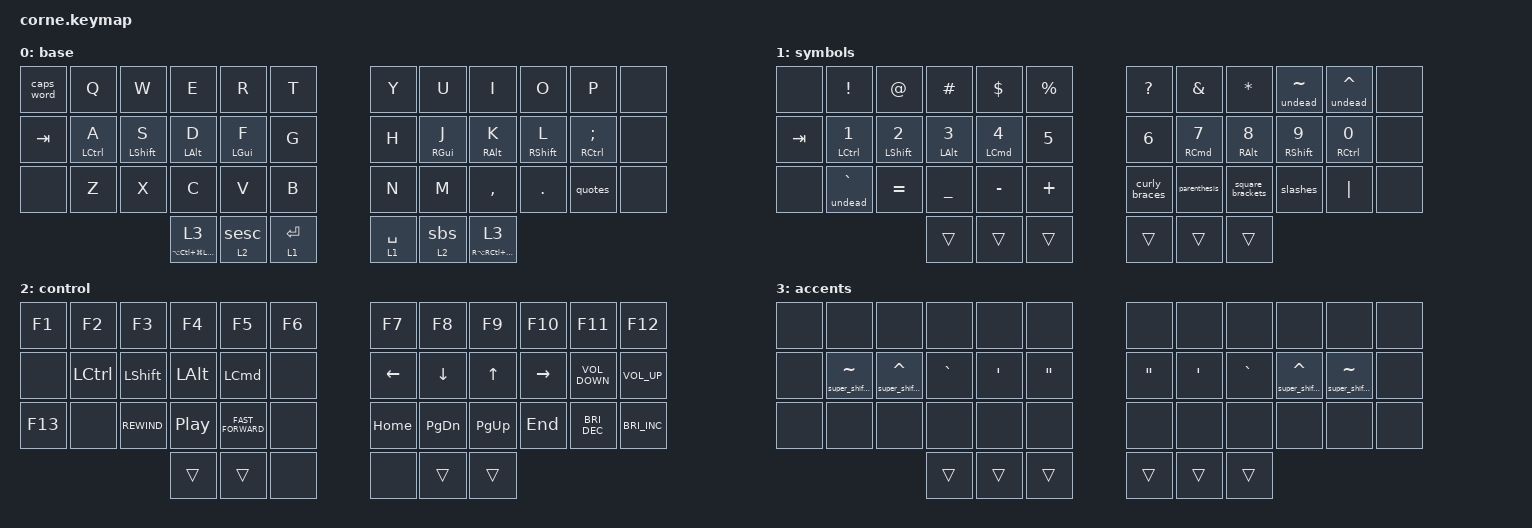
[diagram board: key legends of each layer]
#include <behaviors.dtsi>
#include <dt-bindings/zmk/bt.h>
#include <dt-bindings/zmk/keys.h>

&lt {
    quick-tap-ms = <175>;
    tapping-term-ms = <280>;
    flavor = "balanced";
};

&caps_word { continue-list = <UNDERSCORE BACKSPACE DELETE MINUS>; };

/ {
    behaviors {
        lhmt: left_hand_mod_tap {
            compatible = "zmk,behavior-hold-tap";
            label = "left_hand_mod_tap";
            bindings = <&kp>, <&kp>;

            #binding-cells = <2>;
            tapping-term-ms = <280>;
            quick-tap-ms = <175>;
            flavor = "balanced";
            hold-trigger-key-positions = <6 7 8 9 10 11 18 19 20 21 22 23 30 31 32 33 34 35 39 40 41>;
            hold-trigger-on-release;
        };

        rhmt: right_hand_mod_tap {
            compatible = "zmk,behavior-hold-tap";
            label = "right_hand_mod_tap";
            bindings = <&kp>, <&kp>;

            #binding-cells = <2>;
            tapping-term-ms = <280>;
            quick-tap-ms = <175>;
            flavor = "balanced";
            hold-trigger-key-positions = <0 1 2 3 4 5 12 13 14 15 16 17 24 25 26 27 28 29 36 37 38>;
            hold-trigger-on-release;
        };

        bsdel: backspace_delete {
            compatible = "zmk,behavior-mod-morph";
            label = "BACKSPACE_DELETE";
            bindings = <&kp BACKSPACE>, <&kp DELETE>;

            #binding-cells = <0>;
            mods = <(MOD_LSFT|MOD_RSFT)>;
        };

        mbsdel: mod_backspace_delete {
            compatible = "zmk,behavior-mod-morph";
            label = "MOD_BACKSPACE_DELETE";
            bindings = <&kp RA(BACKSPACE)>, <&kp RA(DELETE)>;

            #binding-cells = <0>;
            mods = <(MOD_LSFT|MOD_RSFT)>;
        };

        sbs: smart_backspace {
            compatible = "zmk,behavior-tap-dance";
            label = "SMART_BACKSPACE";
            #binding-cells = <0>;
            bindings = <&bsdel>, <&mbsdel>;

            tapping-term-ms = <150>;
        };

        sesc: smart_escape {
            compatible = "zmk,behavior-tap-dance";
            label = "SMART_ESCAPE";
            #binding-cells = <0>;
            bindings = <&kp ESC>, <&kp LG(Z)>;
        };

        mobs: momentary_layer_backspace {
            compatible = "zmk,behavior-hold-tap";
            label = "MOMENTARY_LAYER_BACKSPACE";
            bindings = <&mo>, <&sbs>;

            #binding-cells = <2>;
            tapping-term-ms = <280>;
            quick-tap-ms = <100>;
            flavor = "balanced";
        };

        moesc: momentary_layer_escape {
            compatible = "zmk,behavior-hold-tap";
            label = "MOMENTARY_LAYER_ESCAPE";
            bindings = <&mo>, <&sesc>;

            #binding-cells = <2>;
            tapping-term-ms = <280>;
            quick-tap-ms = <200>;
            flavor = "balanced";
        };

        htap: hold_tap_accent_control {
            compatible = "zmk,behavior-hold-tap";
            label = "HOLD_TAP_ACCENT_CONTROL";
            bindings = <&kp>, <&sl>;

            #binding-cells = <2>;
            tapping-term-ms = <280>;
            quick-tap-ms = <175>;
            flavor = "balanced";
            hold-trigger-on-release;
        };

        quotes: quotes {
            compatible = "zmk,behavior-mod-morph";
            label = "QUOTES";
            bindings = <&undead SINGLE_QUOTE>, <&undead DOUBLE_QUOTES>;

            #binding-cells = <0>;
            mods = <(MOD_LSFT|MOD_RSFT)>;
        };

        curly_braces: curly_braces {
            compatible = "zmk,behavior-mod-morph";
            label = "CURLY_BRACES";
            bindings = <&kp LEFT_BRACE>, <&kp RIGHT_BRACE>;

            #binding-cells = <0>;
            mods = <(MOD_LSFT|MOD_RSFT)>;
        };

        parenthesis: parenthesis {
            compatible = "zmk,behavior-mod-morph";
            label = "PARENTHESIS";
            bindings = <&kp LEFT_PARENTHESIS>, <&kp RIGHT_PARENTHESIS>;

            #binding-cells = <0>;
            mods = <(MOD_LSFT|MOD_RSFT)>;
        };

        square_brackets: square_brackets {
            compatible = "zmk,behavior-mod-morph";
            label = "SQUARE_BRACKETS";
            bindings = <&kp LEFT_BRACKET>, <&super_shifted RIGHT_BRACKET>;

            #binding-cells = <0>;
            mods = <(MOD_LSFT|MOD_RSFT)>;
        };

        slashes: slashes {
            compatible = "zmk,behavior-mod-morph";
            label = "SLASHES";
            bindings = <&kp SLASH>, <&super_shifted BACKSLASH>;

            #binding-cells = <0>;
            mods = <(MOD_LSFT|MOD_RSFT)>;
        };
    };

    macros {
        undead: macro_undead_keys {
            compatible = "zmk,behavior-macro-one-param";
            #binding-cells = <1>;
            bindings =
                <&macro_press>,
                <&macro_param_1to1 &kp MACRO_PLACEHOLDER &kp SPACE>,
                <&macro_release>,
                <&macro_param_1to1 &kp MACRO_PLACEHOLDER &kp SPACE>;

            label = "MACRO_UNDEAD_KEYS";
        };

        super_shifted: fixed_mod_morph {
            compatible = "zmk,behavior-macro-one-param";
            #binding-cells = <1>;
            bindings =
                <&macro_press>,
                <&kp LS(RIGHT_SHIFT) &macro_param_1to1 &kp MACRO_PLACEHOLDER>,
                <&macro_release>,
                <&kp LS(RIGHT_SHIFT) &macro_param_1to1 &kp MACRO_PLACEHOLDER>;

            label = "FIXED_MOD_MORPH";
        };
    };

    combos {
        compatible = "zmk,combos";

        combo_reset_bluetooth {
            bindings = <&bt BT_CLR>;
            key-positions = <0 38 39 11>;
            layers = <0>;
            require-prior-idle-ms = <280>;
        };

        combo_cut {
            bindings = <&kp LG(X)>;
            key-positions = <26 27>;
            layers = <0>;
            timeout-ms = <50>;
        };

        combo_copy {
            bindings = <&kp LG(C)>;
            key-positions = <27 28>;
            layers = <0>;
            timeout-ms = <50>;
        };

        combo_paste {
            bindings = <&kp LG(V)>;
            key-positions = <28 29>;
            layers = <0>;
            timeout-ms = <50>;
        };

        combo_next_bluetooth {
            bindings = <&bt BT_NXT>;
            key-positions = <39 11>;
            timeout-ms = <50>;
            require-prior-idle-ms = <280>;
        };

        combo_previous_bluetooth {
            bindings = <&bt BT_PRV>;
            key-positions = <0 38>;
            timeout-ms = <50>;
            require-prior-idle-ms = <280>;
        };

        combo_mute {
            bindings = <&kp C_MUTE>;
            key-positions = <22 23>;
            layers = <2>;
        };

        combo_undo {
            bindings = <&kp LG(Z)>;
            key-positions = <26 25>;
            timeout-ms = <50>;
            layers = <0>;
        };
    };

    keymap {
        compatible = "zmk,keymap";

        Base {
            bindings = <
&caps_word  &kp Q                 &kp W               &kp E                           &kp R             &kp T          &kp Y        &kp U              &kp I                            &kp O                &kp P                     &none
&kp TAB     &lhmt LEFT_CONTROL A  &lhmt LEFT_SHIFT S  &lhmt LEFT_ALT D                &lhmt LEFT_GUI F  &kp G          &kp H        &rhmt RIGHT_GUI J  &rhmt RIGHT_ALT K                &rhmt RIGHT_SHIFT L  &rhmt RIGHT_CONTROL SEMI  &none
&none       &kp Z                 &kp X               &kp C                           &kp V             &kp B          &kp N        &kp M              &kp COMMA                        &kp PERIOD           &quotes                   &none
                                                      &htap LA(LC(LG(LEFT_SHIFT))) 3  &moesc 2 0        &lt 1 ENTER    &lt 1 SPACE  &mobs 2 0          &htap RA(RC(RG(RIGHT_SHIFT))) 3
            >;

            label = "base";
        };

        Symbols {
            bindings = <
&none    &kp EXCLAMATION              &kp AT_SIGN                &kp POUND                &kp DOLLAR                   &kp PERCENT     &kp QUESTION   &kp AMPERSAND                 &kp ASTERISK              &undead TILDE               &undead CARET                 &none
&kp TAB  &lhmt LEFT_CONTROL NUMBER_1  &lhmt LEFT_SHIFT NUMBER_2  &lhmt LEFT_ALT NUMBER_3  &lhmt LEFT_COMMAND NUMBER_4  &kp NUMBER_5    &kp NUMBER_6   &rhmt RIGHT_COMMAND NUMBER_7  &rhmt RIGHT_ALT NUMBER_8  &rhmt RIGHT_SHIFT NUMBER_9  &rhmt RIGHT_CONTROL NUMBER_0  &none
&none    &undead GRAVE                &kp EQUAL                  &kp UNDERSCORE           &kp MINUS                    &kp PLUS        &curly_braces  &parenthesis                  &square_brackets          &slashes                    &kp PIPE                      &none
                                                                 &trans                   &trans                       &trans          &trans         &trans                        &trans
            >;

            label = "symbols";
        };

        Control {
            bindings = <
&kp F1   &kp F2            &kp F3          &kp F4            &kp F5              &kp F6    &kp F7          &kp F8         &kp F9        &kp F10    &kp F11               &kp F12
&none    &kp LEFT_CONTROL  &kp LEFT_SHIFT  &kp LEFT_ALT      &kp LEFT_COMMAND    &none     &kp LEFT_ARROW  &kp DOWN       &kp UP_ARROW  &kp RIGHT  &kp C_VOLUME_DOWN     &kp C_VOLUME_UP
&kp F13  &none             &kp C_REWIND    &kp C_PLAY_PAUSE  &kp C_FAST_FORWARD  &none     &kp HOME        &kp PAGE_DOWN  &kp PAGE_UP   &kp END    &kp C_BRIGHTNESS_DEC  &kp C_BRIGHTNESS_INC
                                           &trans            &trans              &none     &none           &trans         &trans
            >;

            label = "control";
        };

        Accents {
            label = "accents";
            bindings = <
&none  &none                 &none                 &none      &none             &none                &none              &none             &none      &none                 &none                 &none
&none  &super_shifted TILDE  &super_shifted CARET  &kp GRAVE  &kp SINGLE_QUOTE  &kp DOUBLE_QUOTES    &kp DOUBLE_QUOTES  &kp SINGLE_QUOTE  &kp GRAVE  &super_shifted CARET  &super_shifted TILDE  &none
&none  &none                 &none                 &none      &none             &none                &none              &none             &none      &none                 &none                 &none
                                                   &trans     &trans            &trans               &trans             &trans            &trans
            >;
        };
    };

    // #define HOST_OS 2 // macOS
    // #include "zmk-helpers/helper.h"
    // #include "zmk-helpers/key-labels/42.h"
    // #include "zmk-helpers/unicode-chars/french.dtsi"
    // #define ___ &trans
    // #define BAS 0
    // #define SYM 1
    // #define NAV 2
    // /* Timeless homerow mods */
    // // https://github.com/urob/zmk-config/tree/main#timeless-homerow-mods
    // #define KEYS_L LT0 LT1 LT2 LT3 LT4 LT5 LM0 LM1 LM2 LM3 LM4 LM5 LB0 LB1 LB2 LB3 LB4 LB5  // left hand
    // #define KEYS_R RT0 RT1 RT2 RT3 RT4 RT5 RM0 RM1 RM2 RM3 RM4 RM5 RB0 RB1 RB2 RB3 RB4 RB5  // right hand
    // #define THUMBS LH2 LH1 LH0 RH0 RH1 RH2                                                  // thumbs
    // /* Left-hand HRMs. */
    // ZMK_HOLD_TAP(hml,
    //     flavor = "tap-preferred";
    //     tapping-term-ms = <200>;
    //     quick-tap-ms = <200>;
    //     require-prior-idle-ms = <125>;
    //     bindings = <&kp>, <&kp>;
    //     hold-trigger-key-positions = <KEYS_R THUMBS>;
    //     hold-trigger-on-release;
    // )
    // /* Right-hand HRMs. */
    // ZMK_HOLD_TAP(hmr,
    //     flavor = "tap-preferred";
    //     tapping-term-ms = <200>;
    //     quick-tap-ms = <200>;
    //     require-prior-idle-ms = <125>;
    //     bindings = <&kp>, <&kp>;
    //     hold-trigger-key-positions = <KEYS_L THUMBS>;
    //     hold-trigger-on-release;
    // )
    // /* Custom behaviors */
    // &lt {
    //     flavor = "tap-preferred";
    //     tapping-term-ms = <200>;
    //     quick-tap-ms = <200>;
    //     require-prior-idle-ms = <125>;
    // };
    // &caps_word
    // {
    //     continue-list = <UNDERSCORE MINUS>;
    // };
    // ZMK_BEHAVIOR(macro_caret, macro,
    //     bindings = <&kp LEFT_BRACKET &kp SPACE>;
    // )
    // /* Keymap */
    // ZMK_LAYER(base,
    //     // ╭────────────────────────┬────────────────────────┬────────────────────────┬────────────────────────┬────────────────────────┬────────────────────────╮   ╭────────────────────────┬────────────────────────┬────────────────────────┬────────────────────────┬────────────────────────┬────────────────────────╮
    //          &kp NUBS                 &kp Q                    &kp W                    &kp E                    &kp R                    &kp T                        &kp Y                    &kp U                    &kp I                    &kp O                    &kp P                    &kp RIGHT_BRACKET
    //     // ├────────────────────────┼────────────────────────┼────────────────────────┼────────────────────────┼────────────────────────┼────────────────────────┤   ├────────────────────────┼────────────────────────┼────────────────────────┼────────────────────────┼────────────────────────┼────────────────────────┤
    //          &kp TAB                  &hml LCTRL A             &hml LSHIFT S            &hml LALT D              &hml LCMD F              &kp G                        &kp H                    &hmr RCMD J              &hmr RALT K              &hmr RSHIFT L            &hmr RCTRL SEMICOLON     &kp BACKSLASH
    //     // ├────────────────────────┼────────────────────────┼────────────────────────┼────────────────────────┼────────────────────────┼────────────────────────┤   ├────────────────────────┼────────────────────────┼────────────────────────┼────────────────────────┼────────────────────────┼────────────────────────┤
    //          &caps_word               &kp Z                    &kp X                    &kp C                    &kp V                    &kp B                        &kp N                    &kp M                    &kp COMMA                &kp DOT                  &kp SLASH                &kp SINGLE_QUOTE
    //     // ╰────────────────────────┴────────────────────────┴────────────────────────┼────────────────────────┼────────────────────────┼────────────────────────┤   ├────────────────────────┼────────────────────────┼────────────────────────┼────────────────────────┴────────────────────────┴────────────────────────╯
    //                                                                                     ___                      &lt NAV ESCAPE           &lt SYM SPACE                &lt SYM ENTER            &lt NAV BACKSPACE        ___
    //     //                                                                            ╰────────────────────────┴────────────────────────┴────────────────────────╯   ╰────────────────────────┴────────────────────────┴────────────────────────╯
    // )
    // ZMK_LAYER(symbols,
    //     // ╭────────────────────────┬────────────────────────┬────────────────────────┬────────────────────────┬────────────────────────┬────────────────────────╮   ╭────────────────────────┬────────────────────────┬────────────────────────┬────────────────────────┬────────────────────────┬────────────────────────╮
    //          &kp RA(NUBS)             &kp EXCLAMATION          &kp AT_SIGN              &kp HASH                 &kp DOLLAR               &kp PERCENT                  &kp RS(N6)               &kp AMPERSAND            &kp ASTERISK             &macro_caret             &kp LEFT_PARENTHESIS     &kp RIGHT_PARENTHESIS
    //     // ├────────────────────────┼────────────────────────┼────────────────────────┼────────────────────────┼────────────────────────┼────────────────────────┤   ├────────────────────────┼────────────────────────┼────────────────────────┼────────────────────────┼────────────────────────┼────────────────────────┤
    //          ___                      ___                      ___                      ___                      ___                      ___                          &kp RA(RIGHT_BRACKET)    &kp MINUS                &kp EQUAL                &kp PLUS                 &kp RA(N9)               &kp RA(N0)
    //     // ├────────────────────────┼────────────────────────┼────────────────────────┼────────────────────────┼────────────────────────┼────────────────────────┤   ├────────────────────────┼────────────────────────┼────────────────────────┼────────────────────────┼────────────────────────┼────────────────────────┤
    //          ___                      ___                      ___                      ___                      ___                      ___                          ___                      &kp UNDERSCORE           &kp RA(COMMA)            &kp RA(DOT)              &kp RA(N7)               &kp RA(N8)
    //     // ╰────────────────────────┴────────────────────────┴────────────────────────┼────────────────────────┼────────────────────────┼────────────────────────┤   ├────────────────────────┼────────────────────────┼────────────────────────┼────────────────────────┴────────────────────────┴────────────────────────╯
    //                                                                                     ___                      ___                      ___                          ___                      ___                      ___
    //     //                                                                            ╰────────────────────────┴────────────────────────┴────────────────────────╯   ╰────────────────────────┴────────────────────────┴────────────────────────╯
    // )
    // ZMK_LAYER(system,
    //     // ╭────────────────────────┬────────────────────────┬────────────────────────┬────────────────────────┬────────────────────────┬────────────────────────╮   ╭────────────────────────┬────────────────────────┬────────────────────────┬────────────────────────┬────────────────────────┬────────────────────────╮
    //          &kp F1                   &kp F2                   &kp F3                   &kp F4                   &kp F5                   &kp F6                       &kp F7                   &kp F8                   &kp F9                   &kp F10                  &kp F11                  &kp F12
    //     // ├────────────────────────┼────────────────────────┼────────────────────────┼────────────────────────┼────────────────────────┼────────────────────────┤   ├────────────────────────┼────────────────────────┼────────────────────────┼────────────────────────┼────────────────────────┼────────────────────────┤
    //          ___                      ___                      ___                      ___                      ___                      ___                          &kp LEFT                 &kp DOWN                 &kp UP                   &kp RIGHT                ___                      ___
    //     // ├────────────────────────┼────────────────────────┼────────────────────────┼────────────────────────┼────────────────────────┼────────────────────────┤   ├────────────────────────┼────────────────────────┼────────────────────────┼────────────────────────┼────────────────────────┼────────────────────────┤
    //          ___                      ___                      ___                      ___                      ___                      ___                          &kp HOME                 &kp PAGE_DOWN            &kp PAGE_UP              &kp END                  ___                      ___
    //     // ╰────────────────────────┴────────────────────────┴────────────────────────┼────────────────────────┼────────────────────────┼────────────────────────┤   ├────────────────────────┼────────────────────────┼────────────────────────┼────────────────────────┴────────────────────────┴────────────────────────╯
    //                                                                                     ___                      ___                      ___                          ___                      ___                      ___
    //     //                                                                            ╰────────────────────────┴────────────────────────┴────────────────────────╯   ╰────────────────────────┴────────────────────────┴────────────────────────╯
    // )
};
